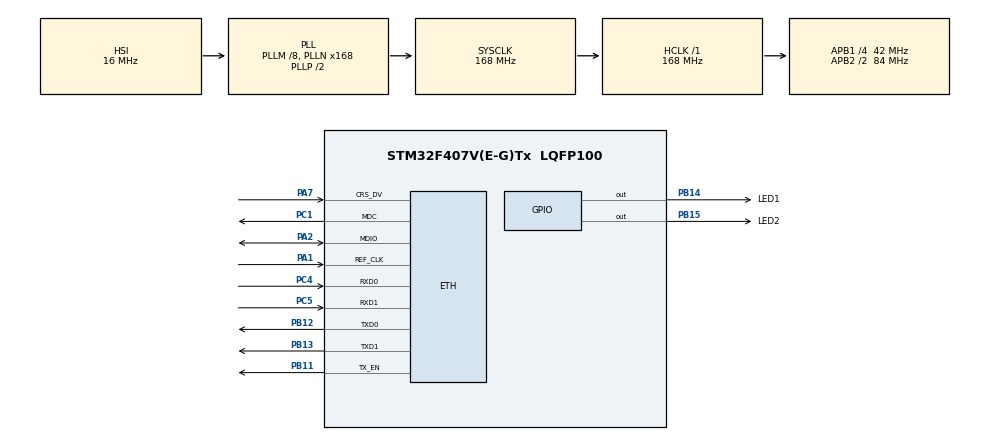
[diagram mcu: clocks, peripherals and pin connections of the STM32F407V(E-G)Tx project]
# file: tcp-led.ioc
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ETH.MediaInterface=ETH_MEDIA_INTERFACE_RMII
LWIP.GATEWAY_ADDRESS=192.168.001.001
LWIP.IP_ADDRESS=192.168.001.200
LWIP.LWIP_DHCP=0
LWIP.NETMASK_ADDRESS=255.255.255.000
LWIP.Version=v2.1.2_Cube
Mcu.Family=STM32F4
Mcu.Name=STM32F407V(E-G)Tx
Mcu.Package=LQFP100
NVIC.PriorityGroup=NVIC_PRIORITYGROUP_4
PA1.Mode=RMII
PA1.Signal=ETH_REF_CLK
PA13.Mode=Serial_Wire
PA13.Signal=SYS_JTMS-SWDIO
PA14.Mode=Serial_Wire
PA14.Signal=SYS_JTCK-SWCLK
PA2.Mode=RMII
PA2.Signal=ETH_MDIO
PA7.Mode=RMII
PA7.Signal=ETH_CRS_DV
PB11.Mode=RMII
PB11.Signal=ETH_TX_EN
PB12.Mode=RMII
PB12.Signal=ETH_TXD0
PB13.Mode=RMII
PB13.Signal=ETH_TXD1
PB14.GPIO_Label=LED1
PB14.Signal=GPIO_Output
PB15.GPIO_Label=LED2
PB15.Signal=GPIO_Output
PC1.Mode=RMII
PC1.Signal=ETH_MDC
PC4.Mode=RMII
PC4.Signal=ETH_RXD0
PC5.Mode=RMII
PC5.Signal=ETH_RXD1
ProjectManager.HeapSize=0x200
ProjectManager.StackSize=0x400
ProjectManager.TargetToolchain=MDK-ARM V5.27
RCC.48MHZClocksFreq_Value=84000000
RCC.AHBFreq_Value=168000000
RCC.APB1CLKDivider=RCC_HCLK_DIV4
RCC.APB1Freq_Value=42000000
RCC.APB1TimFreq_Value=84000000
RCC.APB2CLKDivider=RCC_HCLK_DIV2
RCC.APB2Freq_Value=84000000
RCC.APB2TimFreq_Value=168000000
RCC.CortexFreq_Value=168000000
RCC.HCLKFreq_Value=168000000
RCC.HSE_VALUE=25000000
RCC.HSI_VALUE=16000000
RCC.LSE_VALUE=32768
RCC.PLLM=8
RCC.PLLN=168
RCC.SYSCLKFreq_VALUE=168000000
RCC.SYSCLKSource=RCC_SYSCLKSOURCE_PLLCLK
RCC.VCOOutputFreq_Value=336000000
VP_LWIP_VS_Enabled.Mode=Enabled
board=custom

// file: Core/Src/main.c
/* USER CODE BEGIN Header */
/**
  ******************************************************************************
  * @file           : main.c
  * @brief          : Main program body
  ******************************************************************************
  * @attention
  *
  * <h2><center>&copy; Copyright (c) 2021 STMicroelectronics.
  * All rights reserved.</center></h2>
  *
  * This software component is licensed by ST under Ultimate Liberty license
  * SLA0044, the "License"; You may not use this file except in compliance with
  * the License. You may obtain a copy of the License at:
  *                             www.st.com/SLA0044
  *
  ******************************************************************************
  */
/* USER CODE END Header */
#include "main.h"
#include "lwip.h"
#include "gpio.h"

/* USER CODE BEGIN Includes */
#include "tcp.h"
#include "string.h"
/* USER CODE END Includes */

/* USER CODE BEGIN PD */
#define MAXDATALEN 		10
#define LED1_ON  			'1'
#define LED2_ON				'2'
#define LED1_OFF			'3'
#define LED2_OFF			'4'
/* USER CODE END PD */

/* USER CODE BEGIN PM */
void server_init				(u16_t port);
void 	server_conn_err		(void *arg, err_t err);
err_t server_recv				(void *arg, struct tcp_pcb *pcb, struct pbuf *p, err_t err);
err_t server_accept			(void *arg, struct tcp_pcb *pcb, err_t err);
/* USER CODE END PM */

void SystemClock_Config(void);

int main(void)
{

  /* MCU Configuration--------------------------------------------------------*/

  /* Reset of all peripherals, Initializes the Flash interface and the Systick. */
  HAL_Init();

  /* Configure the system clock */
  SystemClock_Config();

  /* Initialize all configured peripherals */
  MX_GPIO_Init();
  MX_LWIP_Init();
  /* USER CODE BEGIN 2 */
	server_init(1000);
  /* USER CODE END 2 */

  /* Infinite loop */
  while (1)
  {

    /* USER CODE BEGIN 3 */
		MX_LWIP_Process();
  }
  /* USER CODE END 3 */
}

void SystemClock_Config(void)
{
  RCC_OscInitTypeDef RCC_OscInitStruct = {0};
  RCC_ClkInitTypeDef RCC_ClkInitStruct = {0};

  /** Configure the main internal regulator output voltage
  */
  __HAL_RCC_PWR_CLK_ENABLE();
  __HAL_PWR_VOLTAGESCALING_CONFIG(PWR_REGULATOR_VOLTAGE_SCALE1);
  /** Initializes the RCC Oscillators according to the specified parameters
  * in the RCC_OscInitTypeDef structure.
  */
  RCC_OscInitStruct.OscillatorType = RCC_OSCILLATORTYPE_HSI;
  RCC_OscInitStruct.HSIState = RCC_HSI_ON;
  RCC_OscInitStruct.HSICalibrationValue = RCC_HSICALIBRATION_DEFAULT;
  RCC_OscInitStruct.PLL.PLLState = RCC_PLL_ON;
  RCC_OscInitStruct.PLL.PLLSource = RCC_PLLSOURCE_HSI;
  RCC_OscInitStruct.PLL.PLLM = 8;
  RCC_OscInitStruct.PLL.PLLN = 168;
  RCC_OscInitStruct.PLL.PLLP = RCC_PLLP_DIV2;
  RCC_OscInitStruct.PLL.PLLQ = 4;
  if (HAL_RCC_OscConfig(&RCC_OscInitStruct) != HAL_OK)
  {
    Error_Handler();
  }
  /** Initializes the CPU, AHB and APB buses clocks
  */
  RCC_ClkInitStruct.ClockType = RCC_CLOCKTYPE_HCLK|RCC_CLOCKTYPE_SYSCLK
                              |RCC_CLOCKTYPE_PCLK1|RCC_CLOCKTYPE_PCLK2;
  RCC_ClkInitStruct.SYSCLKSource = RCC_SYSCLKSOURCE_PLLCLK;
  RCC_ClkInitStruct.AHBCLKDivider = RCC_SYSCLK_DIV1;
  RCC_ClkInitStruct.APB1CLKDivider = RCC_HCLK_DIV4;
  RCC_ClkInitStruct.APB2CLKDivider = RCC_HCLK_DIV2;

  if (HAL_RCC_ClockConfig(&RCC_ClkInitStruct, FLASH_LATENCY_5) != HAL_OK)
  {
    Error_Handler();
  }
}

/* USER CODE BEGIN 4 */
/**
  * @brief  Called when a data is received on the server connection
  * @param  arg	the user argument
  * @param  pcb	the tcp_pcb that has received the data
  * @param  p	the packet buffer
  * @param  err	the error value linked with the received data
  * @retval error value
  */
err_t server_recv(void *arg, struct tcp_pcb *pcb, struct pbuf *p, err_t err)
{

  char *c;
  int i;
	char data_read[MAXDATALEN]={0};
	char data_send[MAXDATALEN]={0};

  /* We perform here any necessary processing on the pbuf */
  if (p != NULL)
  {
	/* We call this function to tell the LwIp that we have processed the data */
	/* This lets the stack advertise a larger window, so more data can be received*/
	tcp_recved(pcb, p->tot_len);

	c = p->payload;

	for( i = 0 ; i < p->len ; i++)
  {
	  data_read[i] = c[i];
	}

	switch (data_read[0])
	{
	  case LED1_ON:
			HAL_GPIO_WritePin(LED1_GPIO_Port,LED1_Pin,1);
			break;
		case LED2_ON:
			HAL_GPIO_WritePin(LED2_GPIO_Port,LED2_Pin,1);
			break;
		case LED1_OFF:
			HAL_GPIO_WritePin(LED1_GPIO_Port,LED1_Pin,0);
			break;
		case LED2_OFF:
			HAL_GPIO_WritePin(LED2_GPIO_Port,LED2_Pin,0);
			break;
	}

	/* End of processing, we free the pbuf */
    pbuf_free(p);
  }
  else if (err == ERR_OK)
  {
    /* When the pbuf is NULL and the err is ERR_OK, the remote end is closing the connection. */
    /* We close the connection */
    return tcp_close(pcb);
  }
  return ERR_OK;

}

/**
  * @brief  This function when the server connection is established
  * @param  arg  user supplied argument
  * @param  pcb	 the tcp_pcb which accepted the connection
  * @param  err	 error value
  * @retval ERR_OK
  */
err_t server_accept(void *arg, struct tcp_pcb *pcb, err_t err)
{
  /* Configure LwIP to use our call back functions. */
  tcp_err(pcb, server_conn_err);
  tcp_recv(pcb, server_recv);
  return ERR_OK;
}

/**
  * @brief  Initialize the server application
  * @param  None
  * @retval None
  */
void server_init(u16_t port)
{
  struct tcp_pcb *pcb;

  /* Create a new TCP control block  */
  pcb = tcp_new();

  /* Assign to the new pcb a local IP address and a port number */
  /* Using IP_ADDR_ANY allow the pcb to be used by any local interface */
  tcp_bind(pcb, IP_ADDR_ANY, port);

  /* Set the connection to the LISTEN state */
  pcb = tcp_listen(pcb);

  /* Specify the function to be called when a connection is established */
  tcp_accept(pcb, server_accept);

}

/**
  * @brief  This function is called when an error occurs on the connection
  * @param  arg
  * @parm   err
  * @retval None
  */
void server_conn_err(void *arg, err_t err)
{
  struct name *name;
  name = (struct name *)arg;

  mem_free(name);
}
/* USER CODE END 4 */

void Error_Handler(void)
{
  __disable_irq();
  while (1)
  {
  }
}

/************************ (C) COPYRIGHT STMicroelectronics *****END OF FILE****/
